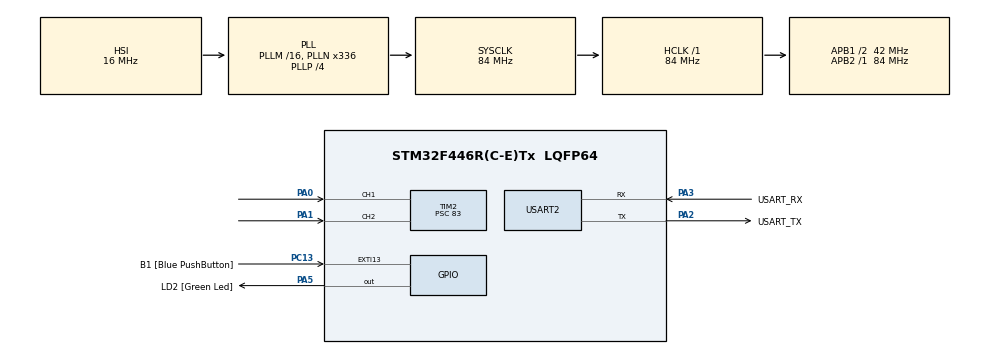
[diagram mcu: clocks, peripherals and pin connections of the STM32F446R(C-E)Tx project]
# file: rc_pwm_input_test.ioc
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Mcu.Family=STM32F4
Mcu.Name=STM32F446R(C-E)Tx
Mcu.Package=LQFP64
NVIC.PriorityGroup=NVIC_PRIORITYGROUP_0
NVIC.TIM2_IRQn=true\:0\:0\:false\:false\:true\:true\:true\:true
PA0-WKUP.Signal=S_TIM2_CH1_ETR
PA1.Signal=S_TIM2_CH2
PA13.GPIO_Label=TMS
PA13.Mode=Serial_Wire
PA13.Signal=SYS_JTMS-SWDIO
PA14.GPIO_Label=TCK
PA14.Mode=Serial_Wire
PA14.Signal=SYS_JTCK-SWCLK
PA2.GPIO_Label=USART_TX
PA2.Mode=Asynchronous
PA2.Signal=USART2_TX
PA3.GPIO_Label=USART_RX
PA3.Mode=Asynchronous
PA3.Signal=USART2_RX
PA5.GPIO_Label=LD2 [Green Led]
PA5.Signal=GPIO_Output
PB3.GPIO_Label=SWO
PB3.Signal=SYS_JTDO-SWO
PC13.GPIO_Label=B1 [Blue PushButton]
PC13.GPIO_ModeDefaultEXTI=GPIO_MODE_IT_FALLING
PC13.Signal=GPXTI13
PC14-OSC32_IN.Mode=LSE-External-Oscillator
PC14-OSC32_IN.Signal=RCC_OSC32_IN
PC15-OSC32_OUT.Mode=LSE-External-Oscillator
PC15-OSC32_OUT.Signal=RCC_OSC32_OUT
PH0-OSC_IN.Mode=HSE-External-Oscillator
PH0-OSC_IN.Signal=RCC_OSC_IN
PH1-OSC_OUT.Mode=HSE-External-Oscillator
PH1-OSC_OUT.Signal=RCC_OSC_OUT
ProjectManager.HeapSize=0x200
ProjectManager.StackSize=0x400
ProjectManager.TargetToolchain=STM32CubeIDE
RCC.48MHZClocksFreq_Value=84000000
RCC.AHBFreq_Value=84000000
RCC.APB1CLKDivider=RCC_HCLK_DIV2
RCC.APB1Freq_Value=42000000
RCC.APB1TimFreq_Value=84000000
RCC.APB2Freq_Value=84000000
RCC.APB2TimFreq_Value=84000000
RCC.CortexFreq_Value=84000000
RCC.FLatency-AdvancedSettings=FLASH_LATENCY_2
RCC.HCLKFreq_Value=84000000
RCC.HSE_VALUE=8000000
RCC.HSI_VALUE=16000000
RCC.PLLN=336
RCC.PLLP=RCC_PLLP_DIV4
RCC.SYSCLKFreq_VALUE=84000000
RCC.SYSCLKSource=RCC_SYSCLKSOURCE_PLLCLK
RCC.USBFreq_Value=168000000
RCC.VCOOutputFreq_Value=336000000
SH.S_TIM2_CH1_ETR.0=TIM2_CH1,Input_Capture1_from_TI1
SH.S_TIM2_CH2.0=TIM2_CH2,Input_Capture2_from_TI2
TIM2.Channel-Input_Capture1_from_TI1=TIM_CHANNEL_1
TIM2.Channel-Input_Capture2_from_TI2=TIM_CHANNEL_2
TIM2.Period=65535
TIM2.Prescaler=83
USART2.VirtualMode=VM_ASYNC
VP_TIM2_VS_ClockSourceINT.Mode=Internal
board=NUCLEO-F446RE

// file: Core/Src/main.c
/* USER CODE BEGIN Header */
/**
  ******************************************************************************
  * @file           : main.c
  * @brief          : Main program body
  ******************************************************************************
  * @attention
  *
  * Copyright (c) 2026 STMicroelectronics.
  * All rights reserved.
  *
  * This software is licensed under terms that can be found in the LICENSE file
  * in the root directory of this software component.
  * If no LICENSE file comes with this software, it is provided AS-IS.
  *
  ******************************************************************************
  */
/* USER CODE END Header */
#include "main.h"

/* USER CODE BEGIN Includes */
#include <stdio.h>
/* USER CODE END Includes */

TIM_HandleTypeDef htim2;

UART_HandleTypeDef huart2;

/* USER CODE BEGIN PV */
volatile uint32_t ch1_rise = 0;
volatile uint32_t ch2_rise = 0;

volatile uint16_t ch1_us = 0;
volatile uint16_t ch2_us = 0;

volatile uint8_t ch1_wait_falling = 0;
volatile uint8_t ch2_wait_falling = 0;
/* USER CODE END PV */

void SystemClock_Config(void);
static void MX_GPIO_Init(void);
static void MX_USART2_UART_Init(void);
static void MX_TIM2_Init(void);

/* USER CODE BEGIN 0 */
int __io_putchar(int ch)
{
  HAL_UART_Transmit(&huart2, (uint8_t *)&ch, 1, HAL_MAX_DELAY);
  return ch;
}
/* USER CODE END 0 */

int main(void)
{

  /* MCU Configuration--------------------------------------------------------*/

  /* Reset of all peripherals, Initializes the Flash interface and the Systick. */
  HAL_Init();

  /* Configure the system clock */
  SystemClock_Config();

  /* Initialize all configured peripherals */
  MX_GPIO_Init();
  MX_USART2_UART_Init();
  MX_TIM2_Init();

  /* USER CODE BEGIN 2 */
  HAL_TIM_IC_Start_IT(&htim2, TIM_CHANNEL_1);
  HAL_TIM_IC_Start_IT(&htim2, TIM_CHANNEL_2);

  printf("FlySky PWM input test started\r\n");
  /* USER CODE END 2 */

  /* Infinite loop */
  while (1)
  {

    /* USER CODE BEGIN 3 */
    printf("CH1 = %u us, CH2 = %u us\r\n", ch1_us, ch2_us);
    HAL_Delay(200);
    /* USER CODE END 3 */
  }
  /* USER CODE END WHILE */
}

void SystemClock_Config(void)
{
  RCC_OscInitTypeDef RCC_OscInitStruct = {0};
  RCC_ClkInitTypeDef RCC_ClkInitStruct = {0};

  /** Configure the main internal regulator output voltage
  */
  __HAL_RCC_PWR_CLK_ENABLE();
  __HAL_PWR_VOLTAGESCALING_CONFIG(PWR_REGULATOR_VOLTAGE_SCALE3);

  /** Initializes the RCC Oscillators according to the specified parameters
  * in the RCC_OscInitTypeDef structure.
  */
  RCC_OscInitStruct.OscillatorType = RCC_OSCILLATORTYPE_HSI;
  RCC_OscInitStruct.HSIState = RCC_HSI_ON;
  RCC_OscInitStruct.HSICalibrationValue = RCC_HSICALIBRATION_DEFAULT;
  RCC_OscInitStruct.PLL.PLLState = RCC_PLL_ON;
  RCC_OscInitStruct.PLL.PLLSource = RCC_PLLSOURCE_HSI;
  RCC_OscInitStruct.PLL.PLLM = 16;
  RCC_OscInitStruct.PLL.PLLN = 336;
  RCC_OscInitStruct.PLL.PLLP = RCC_PLLP_DIV4;
  RCC_OscInitStruct.PLL.PLLQ = 2;
  RCC_OscInitStruct.PLL.PLLR = 2;
  if (HAL_RCC_OscConfig(&RCC_OscInitStruct) != HAL_OK)
  {
    Error_Handler();
  }

  /** Initializes the CPU, AHB and APB buses clocks
  */
  RCC_ClkInitStruct.ClockType = RCC_CLOCKTYPE_HCLK | RCC_CLOCKTYPE_SYSCLK
                              | RCC_CLOCKTYPE_PCLK1 | RCC_CLOCKTYPE_PCLK2;
  RCC_ClkInitStruct.SYSCLKSource = RCC_SYSCLKSOURCE_PLLCLK;
  RCC_ClkInitStruct.AHBCLKDivider = RCC_SYSCLK_DIV1;
  RCC_ClkInitStruct.APB1CLKDivider = RCC_HCLK_DIV2;
  RCC_ClkInitStruct.APB2CLKDivider = RCC_HCLK_DIV1;

  if (HAL_RCC_ClockConfig(&RCC_ClkInitStruct, FLASH_LATENCY_2) != HAL_OK)
  {
    Error_Handler();
  }
}

static void MX_TIM2_Init(void)
{

  TIM_ClockConfigTypeDef sClockSourceConfig = {0};
  TIM_MasterConfigTypeDef sMasterConfig = {0};
  TIM_IC_InitTypeDef sConfigIC = {0};

  htim2.Instance = TIM2;
  htim2.Init.Prescaler = 83;
  htim2.Init.CounterMode = TIM_COUNTERMODE_UP;
  htim2.Init.Period = 65535;
  htim2.Init.ClockDivision = TIM_CLOCKDIVISION_DIV1;
  htim2.Init.AutoReloadPreload = TIM_AUTORELOAD_PRELOAD_DISABLE;
  if (HAL_TIM_Base_Init(&htim2) != HAL_OK)
  {
    Error_Handler();
  }
  sClockSourceConfig.ClockSource = TIM_CLOCKSOURCE_INTERNAL;
  if (HAL_TIM_ConfigClockSource(&htim2, &sClockSourceConfig) != HAL_OK)
  {
    Error_Handler();
  }
  if (HAL_TIM_IC_Init(&htim2) != HAL_OK)
  {
    Error_Handler();
  }
  sMasterConfig.MasterOutputTrigger = TIM_TRGO_RESET;
  sMasterConfig.MasterSlaveMode = TIM_MASTERSLAVEMODE_DISABLE;
  if (HAL_TIMEx_MasterConfigSynchronization(&htim2, &sMasterConfig) != HAL_OK)
  {
    Error_Handler();
  }
  sConfigIC.ICPolarity = TIM_INPUTCHANNELPOLARITY_RISING;
  sConfigIC.ICSelection = TIM_ICSELECTION_DIRECTTI;
  sConfigIC.ICPrescaler = TIM_ICPSC_DIV1;
  sConfigIC.ICFilter = 0;
  if (HAL_TIM_IC_ConfigChannel(&htim2, &sConfigIC, TIM_CHANNEL_1) != HAL_OK)
  {
    Error_Handler();
  }
  if (HAL_TIM_IC_ConfigChannel(&htim2, &sConfigIC, TIM_CHANNEL_2) != HAL_OK)
  {
    Error_Handler();
  }

}

static void MX_USART2_UART_Init(void)
{

  huart2.Instance = USART2;
  huart2.Init.BaudRate = 115200;
  huart2.Init.WordLength = UART_WORDLENGTH_8B;
  huart2.Init.StopBits = UART_STOPBITS_1;
  huart2.Init.Parity = UART_PARITY_NONE;
  huart2.Init.Mode = UART_MODE_TX_RX;
  huart2.Init.HwFlowCtl = UART_HWCONTROL_NONE;
  huart2.Init.OverSampling = UART_OVERSAMPLING_16;
  if (HAL_UART_Init(&huart2) != HAL_OK)
  {
    Error_Handler();
  }

}

static void MX_GPIO_Init(void)
{
  GPIO_InitTypeDef GPIO_InitStruct = {0};

  /* GPIO Ports Clock Enable */
  __HAL_RCC_GPIOC_CLK_ENABLE();
  __HAL_RCC_GPIOH_CLK_ENABLE();
  __HAL_RCC_GPIOA_CLK_ENABLE();
  __HAL_RCC_GPIOB_CLK_ENABLE();

  /*Configure GPIO pin Output Level */
  HAL_GPIO_WritePin(LD2_GPIO_Port, LD2_Pin, GPIO_PIN_RESET);

  /*Configure GPIO pin : B1_Pin */
  GPIO_InitStruct.Pin = B1_Pin;
  GPIO_InitStruct.Mode = GPIO_MODE_IT_FALLING;
  GPIO_InitStruct.Pull = GPIO_NOPULL;
  HAL_GPIO_Init(B1_GPIO_Port, &GPIO_InitStruct);

  /*Configure GPIO pin : LD2_Pin */
  GPIO_InitStruct.Pin = LD2_Pin;
  GPIO_InitStruct.Mode = GPIO_MODE_OUTPUT_PP;
  GPIO_InitStruct.Pull = GPIO_NOPULL;
  GPIO_InitStruct.Speed = GPIO_SPEED_FREQ_LOW;
  HAL_GPIO_Init(LD2_GPIO_Port, &GPIO_InitStruct);

}

/* USER CODE BEGIN 4 */
void HAL_TIM_IC_CaptureCallback(TIM_HandleTypeDef *htim)
{
  if (htim->Instance == TIM2)
  {
    if (htim->Channel == HAL_TIM_ACTIVE_CHANNEL_1)
    {
      uint32_t capture = HAL_TIM_ReadCapturedValue(htim, TIM_CHANNEL_1);

      if (ch1_wait_falling == 0)
      {
        ch1_rise = capture;
        ch1_wait_falling = 1;
        __HAL_TIM_SET_CAPTUREPOLARITY(htim, TIM_CHANNEL_1, TIM_INPUTCHANNELPOLARITY_FALLING);
      }
      else
      {
        if (capture >= ch1_rise)
        {
          ch1_us = (uint16_t)(capture - ch1_rise);
        }
        else
        {
          ch1_us = (uint16_t)((65535 - ch1_rise + 1) + capture);
        }

        ch1_wait_falling = 0;
        __HAL_TIM_SET_CAPTUREPOLARITY(htim, TIM_CHANNEL_1, TIM_INPUTCHANNELPOLARITY_RISING);
      }
    }

    if (htim->Channel == HAL_TIM_ACTIVE_CHANNEL_2)
    {
      uint32_t capture = HAL_TIM_ReadCapturedValue(htim, TIM_CHANNEL_2);

      if (ch2_wait_falling == 0)
      {
        ch2_rise = capture;
        ch2_wait_falling = 1;
        __HAL_TIM_SET_CAPTUREPOLARITY(htim, TIM_CHANNEL_2, TIM_INPUTCHANNELPOLARITY_FALLING);
      }
      else
      {
        if (capture >= ch2_rise)
        {
          ch2_us = (uint16_t)(capture - ch2_rise);
        }
        else
        {
          ch2_us = (uint16_t)((65535 - ch2_rise + 1) + capture);
        }

        ch2_wait_falling = 0;
        __HAL_TIM_SET_CAPTUREPOLARITY(htim, TIM_CHANNEL_2, TIM_INPUTCHANNELPOLARITY_RISING);
      }
    }
  }
}
/* USER CODE END 4 */

void Error_Handler(void)
{
  __disable_irq();
  while (1)
  {
  }
}
